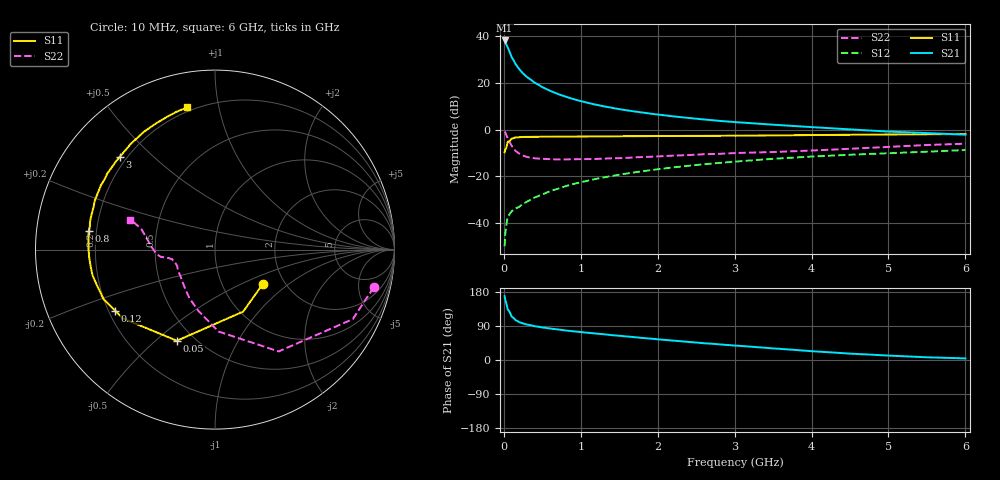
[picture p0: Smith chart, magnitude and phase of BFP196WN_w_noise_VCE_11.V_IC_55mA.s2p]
! Infineon Technologies  Discrete & RF Semiconductors
! BFP196WN
! VCE =  11. V,  IC =  55 mA
! Common Emitter S-Parameters:  Jan 2017
# GHz  S  MA  R  50
!  f  S11  S21  S12  S22
! GHz  MAG  ANG  MAG  ANG  MAG  ANG  MAG  ANG
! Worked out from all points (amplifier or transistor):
!   77 points, 10 MHz to 6 GHz, reference 50 ohm
!   highest |S21| = 38.2 dB at 10 MHz (marker M1)
!   |S21| within 3 dB of that: start of sweep to 50.64 MHz
!   unconditionally stable (mu >= 1): 664.9 MHz to 2.661 GHz
!   at 130 MHz: K = 0.53, MSG = 31.9 dB, |S12| = -34.3 dB
!   at 2.2 GHz: K = 1.02, MAG = 10.1 dB, |S12| = -16.2 dB
!   at 6 GHz: K = 0.90, MSG = 3.3 dB, |S12| = -8.7 dB
!   lowest NFmin = 1.34 dB at 450 MHz
!   S11 on the Smith chart (normalised r, x): 10 MHz: 1.56, -0.66; 50 MHz: 0.40, -0.59; 120 MHz: 0.23, -0.27; 800 MHz: 0.17, +0.07; 3 GHz: 0.17, +0.40; 6 GHz: 0.18, +0.81
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0.01  0.3283 -35.4  81.11 168.6  0.0032 79.0  0.9087 -13.4
0.02  0.3794 -65.6  74.74 157.4  0.0062 71.6  0.8598 -26.8
0.05  0.5503 -112.7  57.73 133.7  0.0133 55.7  0.669 -58.0
0.1  0.6404 -143.2  36.19 114.7  0.0177 49.4  0.4566 -87.6
0.12  0.652 -148.5  31.93 111.8  0.0188 49.1  0.411 -93.6
0.15  0.6794 -156.0  25.77 105.6  0.0204 48.6  0.3535 -105.2
0.2  0.6874 -163.3  19.73 100.1  0.0222 50.9  0.3066 -117.5
0.25  0.697 -168.0  15.96 96.4  0.026 53.0  0.2789 -125.8
0.3  0.6989 -171.6  13.39 93.6  0.0286 56.0  0.2597 -133.0
0.4  0.7022 -176.5  10.14 89.2  0.0352 59.9  0.2434 -141.9
0.5  0.7047 179.8  8.134 86.0  0.0408 63.6  0.2374 -148.6
0.6  0.7058 176.7  6.799 83.1  0.0482 65.2  0.2334 -153.2
0.7  0.7089 174.2  5.82 80.7  0.0541 66.7  0.2299 -156.4
0.8  0.7114 171.7  5.1 78.0  0.0613 67.7  0.2306 -158.5
1.1  0.7143 165.8  3.719 71.7  0.0813 68.3  0.2339 -163.7
1.5  0.7213 158.8  2.749 63.9  0.1083 66.9  0.2454 -167.6
2.1  0.7292 149.2  2.015 52.9  0.1485 63.5  0.2722 -170.3
3  0.7407 135.6  1.452 38.1  0.2062 57.0  0.315 -173.9
3.1  0.7423 134.1  1.415 36.8  0.2123 56.2  0.3183 -174.6
4.1  0.7676 119.9  1.108 22.0  0.27 48.0  0.3629 175.5
5.1  0.7882 109.1  0.895 10.8  0.3175 40.6  0.435 163.8
6  0.8071 101.1  0.779 4.2  0.3659 34.6  0.4999 160.8
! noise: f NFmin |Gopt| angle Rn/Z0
0.45  1.34  0.54  -177  0.05
0.9  1.44  0.57  -170  0.06
1.9  2.36  0.69  -147  0.17
2.4  3.11  0.7  -140  0.29
